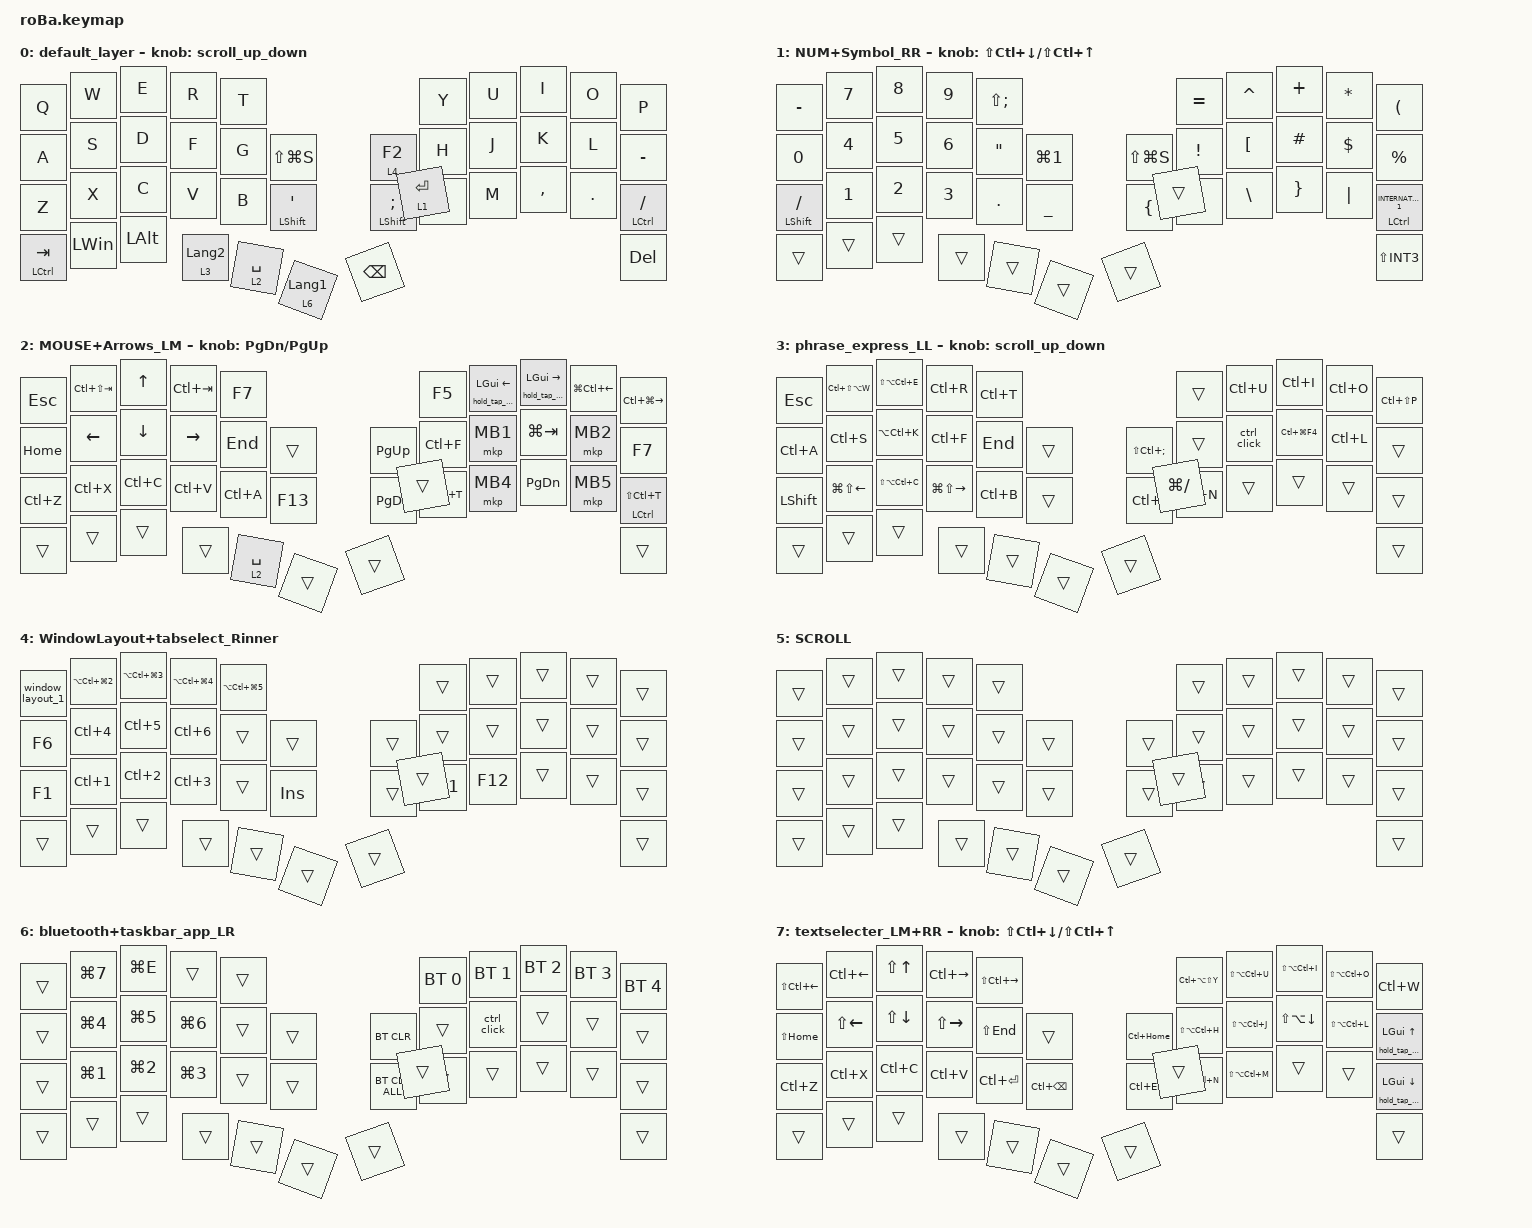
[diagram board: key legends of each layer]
#include <behaviors.dtsi>
#include <dt-bindings/zmk/bt.h>
#include <dt-bindings/zmk/keys.h>
#include <dt-bindings/zmk/pointing.h>

#define ZMK_POINTING_DEFAULT_SCRL_VAL 100

&mt {
    flavor = "balanced";
    quick-tap-ms = <0>;
};

&trackball {
    // automouse-layer = <4>;

    scroll-layers = <5>;

    arrows {
        layers = <6>;
        bindings =
            <&kp RIGHT_ARROW>,
            <&kp LEFT_ARROW>,
            <&kp UP_ARROW>,
            <&kp DOWN_ARROW>;

        tick = <10>;
        wait-ms = <5>;
        tap-ms = <5>;
    };
};

/ {
    combos {
        compatible = "zmk,combos";

        tab {
            bindings = <&kp TAB>;
            key-positions = <11 12>;
            timeout-ms = <30>;
            layers = <0>;
        };

        shift_tab {
            bindings = <&kp LS(TAB)>;
            key-positions = <12 13>;
            timeout-ms = <30>;
            layers = <0>;
        };

        double_quotation {
            bindings = <&kp AT>;
            key-positions = <18 19>;
        };

        quote {
            bindings = <&kp AMPERSAND>;
            key-positions = <19 20>;
        };

        underbar {
            bindings = <&kp LS(INTERNATIONAL_1)>;
            key-positions = <20 21>;
        };

        add_new_desktop {
            bindings = <&kp LC(LG(D))>;
            key-positions = <8 9>;
            timeout-ms = <40>;
            layers = <2>;
        };

        ctrl+home {
            bindings = <&kp LC(HOME)>;
            key-positions = <1 2>;
            timeout-ms = <30>;
            layers = <2>;
        };

        ctrl+end {
            bindings = <&kp LC(END)>;
            key-positions = <2 3>;
            timeout-ms = <30>;
            layers = <2>;
        };

        mouse_layer_tog {
            bindings = <&tog 2>;
            key-positions = <6 7>;
        };
    };

    macros {
        to_layer_0: to_layer_0 {
            compatible = "zmk,behavior-macro-one-param";
            #binding-cells = <1>;
            bindings = <&to 0 &macro_param_1to1 &kp MACRO_PLACEHOLDER>;
            label = "TO_LAYER_0";
        };

        hold_tap_and_release: underbar {
            compatible = "zmk,behavior-macro-two-param";
            #binding-cells = <2>;
            bindings = <&macro_param_1to1 &kt MACRO_PLACEHOLDER &macro_param_2to1 &kp MACRO_PLACEHOLDER &macro_param_1to1 &kt MACRO_PLACEHOLDER>;
            label = "UNDERBAR";
        };

        window_layout_1: window_layout_1 {
            compatible = "zmk,behavior-macro";
            #binding-cells = <0>;
            bindings =
                <&macro_press>,
                <&kp LEFT_GUI &kp LCTRL &kp LEFT_ALT>,
                <&macro_tap>,
                <&kp NUMBER_1>,
                <&macro_release>,
                <&kp LEFT_GUI &kp LCTRL &kp LALT>;

            label = "WINDOW_LAYOUT_1";
        };

        change_up_task: change_up_task {
            compatible = "zmk,behavior-macro";
            #binding-cells = <0>;
            bindings =
                <&macro_press>,
                <&kp LEFT_ALT>,
                <&macro_tap>,
                <&kp TAB>,
                <&macro_wait_time 2000>,
                <&macro_release>,
                <&kp LEFT_ALT>;

            label = "CHANGE_UP_TASK";
        };

        change_down_task: change_down_tasks {
            compatible = "zmk,behavior-macro";
            #binding-cells = <0>;
            bindings =
                <&macro_press>,
                <&kp LEFT_ALT>,
                <&macro_tap>,
                <&kp LS(TAB)>,
                <&macro_wait_time 2000>,
                <&macro_release>,
                <&kp LEFT_ALT>;

            label = "CHANGE_DOWN_TASKS";
        };

        ctrl_click: ctrl_click {
            compatible = "zmk,behavior-macro";
            #binding-cells = <0>;
            bindings =
                <&macro_press>,
                <&kp LCTRL>,
                <&macro_wait_time 30>,
                <&macro_tap>,
                <&mkp LCLK>,
                <&macro_release>,
                <&kp LCTRL>;

            label = "CTRL_CLICK";
        };
    };

    behaviors {
        scroll_up_down: behavior_sensor_rotate_mouse_wheel_up_down {
            compatible = "zmk,behavior-sensor-rotate";
            #sensor-binding-cells = <0>;
            bindings = <&msc SCRL_DOWN>, <&msc SCRL_UP>;

            // 追加: スクロールのタップ時間を設定 (20ms)

            tap-ms = <20>;
        };

        lt_to_layer_0: lt_to_layer_0 {
            compatible = "zmk,behavior-hold-tap";
            label = "LAYER_TAP_TO_0";
            bindings = <&mo>, <&to_layer_0>;

            #binding-cells = <2>;
            tapping-term-ms = <200>;
        };
    };

    keymap {
        compatible = "zmk,keymap";

        default_layer {
            bindings = <
&kp Q          &kp W         &kp E         &kp R                        &kp T                                                                   &kp Y        &kp U  &kp I      &kp O    &kp P
&kp A          &kp S         &kp D         &kp F                        &kp G        &kp LS(LG(S))                    &lt_to_layer_0 4 F2       &kp H        &kp J  &kp K      &kp L    &kp MINUS
&kp Z          &kp X         &kp C         &kp V                        &kp B        &mt LEFT_SHIFT SINGLE_QUOTE      &mt LEFT_SHIFT SEMICOLON  &kp N        &kp M  &kp COMMA  &kp DOT  &mt LCTRL SLASH
&mt LCTRL TAB  &kp LEFT_WIN  &kp LEFT_ALT  &lt_to_layer_0 3 LANGUAGE_2  &lt 2 SPACE  &lt_to_layer_0 6 LANGUAGE_1      &kp BACKSPACE             &lt 1 ENTER                             &kp DEL
            >;

            sensor-bindings = <&scroll_up_down>;
        };

        NUM+Symbol_RR {
            bindings = <
&kp MINUS             &kp NUMBER_7  &kp NUMBER_8  &kp NUMBER_9  &kp LS(SEMI)                                             &kp EQUAL          &kp CARET         &kp PLUS         &kp ASTRK   &kp LEFT_PARENTHESIS
&kp N0                &kp NUMBER_4  &kp NUMBER_5  &kp NUMBER_6  &kp DOUBLE_QUOTES  &kp LG(NUMBER_1)      &kp LS(LG(S))   &kp EXCLAMATION    &kp LEFT_BRACKET  &kp HASH         &kp DOLLAR  &kp PERCENT
&mt LEFT_SHIFT SLASH  &kp N1        &kp NUMBER_2  &kp NUMBER_3  &kp PERIOD         &kp UNDERSCORE        &kp LEFT_BRACE  &kp RIGHT_BRACKET  &kp BACKSLASH     &kp RIGHT_BRACE  &kp PIPE    &mt LCTRL INTERNATIONAL_1
&trans                &trans        &trans        &trans        &trans             &trans                &trans          &trans                                                            &kp LS(INT3)
            >;

            sensor-bindings = <&inc_dec_kp LS(LC(DOWN_ARROW)) LS(LC(UP_ARROW))>;
        };

        MOUSE+Arrows_LM {
            bindings = <
&kp ESCAPE  &kp LC(LS(TAB))  &kp UP_ARROW    &kp LC(TAB)      &kp F7                                   &kp F5         &hold_tap_and_release LEFT_GUI LEFT_ARROW  &hold_tap_and_release LEFT_GUI RIGHT_ARROW  &kp LG(LC(LEFT_ARROW))  &kp LC(LG(RIGHT_ARROW))
&kp HOME    &kp LEFT_ARROW   &kp DOWN_ARROW  &kp RIGHT_ARROW  &kp END      &trans       &kp PAGE_UP    &kp LC(F)      &mkp MB1                                   &kp LG(TAB)                                 &mkp MB2                &kp F7
&kp LC(Z)   &kp LC(X)        &kp LC(C)       &kp LC(V)        &kp LC(A)    &kp F13      &kp PAGE_DOWN  &kp LG(LC(T))  &mkp MB4                                   &kp PAGE_DOWN                               &mkp MB5                &mt LCTRL LS(LC(T))
&trans      &trans           &trans          &trans           &lt 2 SPACE  &trans       &trans         &trans                                                                                                                        &trans
            >;

            sensor-bindings = <&inc_dec_kp PAGE_DOWN PAGE_UP>;
        };

        phrase_express_LL {
            bindings = <
&kp ESCAPE      &kp LC(LS(LA(W)))       &kp LS(LA(LC(E)))  &kp LC(R)                &kp LC(T)                                     &trans         &kp LC(U)    &kp LC(I)       &kp LC(O)  &kp LC(LS(P))
&kp LC(A)       &kp LC(S)               &kp LA(LC(K))      &kp LC(F)                &kp END    &trans      &kp LS(LC(SEMICOLON))  &trans         &ctrl_click  &kp LC(LG(F4))  &kp LC(L)  &trans
&kp LEFT_SHIFT  &kp LG(LS(LEFT_ARROW))  &kp LS(LA(LC(C)))  &kp LG(LS(RIGHT_ARROW))  &kp LC(B)  &trans      &kp LC(MINUS)          &kp LC(N)      &trans       &trans          &trans     &trans
&trans          &trans                  &trans             &trans                   &trans     &trans      &trans                 &kp LG(SLASH)                                          &trans
            >;

            sensor-bindings = <&scroll_up_down>;
        };

        WindowLayout+tabselect_Rinner {
            bindings = <
&window_layout_1  &kp LA(LC(LG(NUMBER_2)))  &kp LA(LC(LG(NUMBER_3)))  &kp LA(LC(LG(NUMBER_4)))  &kp LA(LC(LG(N5)))                          &trans   &trans   &trans  &trans  &trans
&kp F6            &kp LC(N4)                &kp LC(N5)                &kp LC(N6)                &trans              &trans          &trans  &trans   &trans   &trans  &trans  &trans
&kp F1            &kp LC(N1)                &kp LC(N2)                &kp LC(N3)                &trans              &kp INSERT      &trans  &kp F11  &kp F12  &trans  &trans  &trans
&trans            &trans                    &trans                    &trans                    &trans              &trans          &trans  &trans                            &trans
            >;
        };

        SCROLL {
            bindings = <
&trans  &trans  &trans  &trans  &trans                      &trans  &trans  &trans  &trans  &trans
&trans  &trans  &trans  &trans  &trans  &trans      &trans  &trans  &trans  &trans  &trans  &trans
&trans  &trans  &trans  &trans  &trans  &trans      &trans  &trans  &trans  &trans  &trans  &trans
&trans  &trans  &trans  &trans  &trans  &trans      &trans  &trans                          &trans
            >;
        };

        bluetooth+taskbar_app_LR {
            bindings = <
&trans  &kp LG(N7)        &kp LG(E)         &trans      &trans                              &bt BT_SEL 0  &bt BT_SEL 1  &bt BT_SEL 2  &bt BT_SEL 3  &bt BT_SEL 4
&trans  &kp LG(N4)        &kp LG(N5)        &kp LG(N6)  &trans  &trans      &bt BT_CLR      &trans        &ctrl_click   &trans        &trans        &trans
&trans  &kp LG(NUMBER_1)  &kp LG(NUMBER_2)  &kp LG(N3)  &trans  &trans      &bt BT_CLR_ALL  &trans        &trans        &trans        &trans        &trans
&trans  &trans            &trans            &trans      &trans  &trans      &trans          &trans                                                  &trans
            >;
        };

        textselecter_LM+RR {
            bindings = <
&kp LS(LC(LEFT))  &kp LC(LEFT)  &kp LS(UP)    &kp LC(RIGHT)  &kp LS(LC(RIGHT))                                       &kp LC(LA(LS(Y)))  &kp LS(LA(LC(U)))  &kp LS(LA(LC(I)))       &kp LS(LA(LC(O)))  &kp LC(W)
&kp LS(HOME)      &kp LS(LEFT)  &kp LS(DOWN)  &kp LS(RIGHT)  &kp LS(END)        &trans                 &kp LC(HOME)  &kp LS(LA(LC(H)))  &kp LS(LA(LC(J)))  &kp LS(LA(DOWN_ARROW))  &kp LS(LA(LC(L)))  &hold_tap_and_release LEFT_GUI UP_ARROW
&kp LC(Z)         &kp LC(X)     &kp LC(C)     &kp LC(V)      &kp LC(RET)        &kp LC(BACKSPACE)      &kp LC(END)   &kp LS(LA(LC(N)))  &kp LS(LA(LC(M)))  &trans                  &trans             &hold_tap_and_release LEFT_GUI DOWN_ARROW
&trans            &trans        &trans        &trans         &trans             &trans                 &trans        &trans                                                                           &trans
            >;

            sensor-bindings = <&inc_dec_kp LS(LC(DOWN)) LS(LC(UP_ARROW))>;
        };
    };

    conditional_layers {
        compatible = "zmk,conditional-layers";

        textselectror {
            if-layers = <1 2>;
            then-layer = <7>;
        };
    };
};
